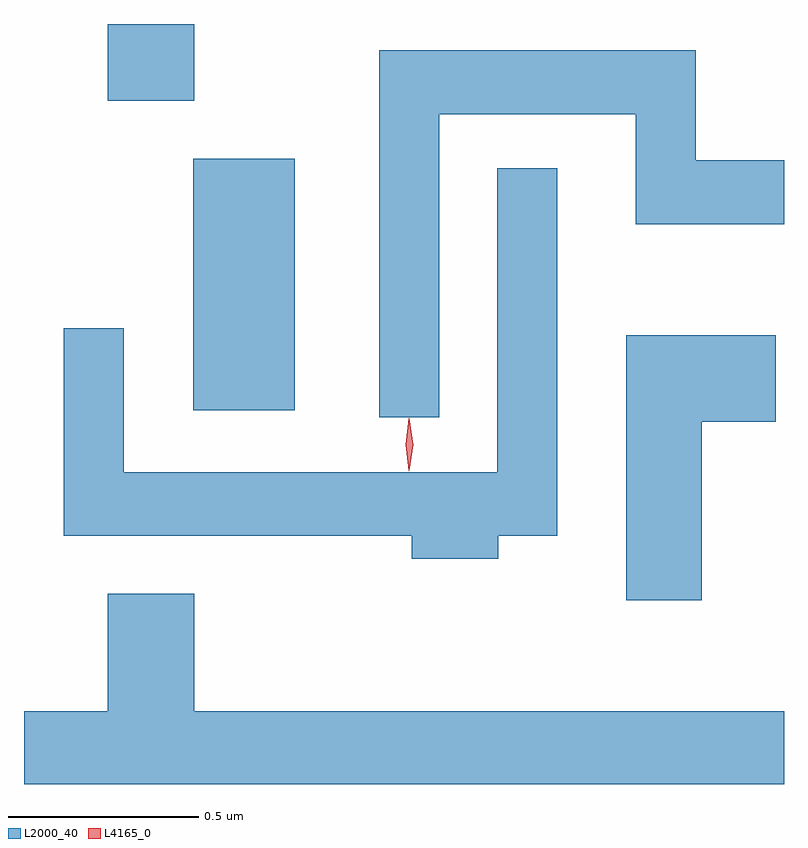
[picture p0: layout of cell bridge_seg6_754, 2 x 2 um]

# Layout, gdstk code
import gdstk
lib = gdstk.Library(unit=1e-6, precision=1e-09)
def R(c, l, rs):  # rectangles x0, y0, x1, y1
    for r in rs: c.add(gdstk.rectangle(r[:2], r[2:], *l))
def P(c, l, *ps):  # polygons
    for p in ps: c.add(gdstk.Polygon(p, *l))
L2000_40 = (2000, 40)
L4165_0 = (4165, 0)

bridge_seg6_754 = lib.new_cell('bridge_seg6_754')
R(bridge_seg6_754, L2000_40, [(484.996,1535.556,485.264,1536.219), (484.771,1536.371,484.999,1536.573)])
P(bridge_seg6_754, L2000_40, [(485.644,1536.336),(486.161,1536.336),(486.161,1536.046),(486.551,1536.046),(486.551,1536.214),(486.319,1536.214),(486.319,1536.504),(485.486,1536.504),(485.486,1535.538),(485.644,1535.538)],
  [(485.799,1535.226),(485.954,1535.226),(485.954,1536.193),(485.796,1536.193),(485.796,1535.394),(484.814,1535.394),(484.814,1535.773),(484.656,1535.773),(484.656,1535.226),(485.571,1535.226),(485.571,1535.166),(485.799,1535.166)],
  [(486.334,1535.526),(486.529,1535.526),(486.529,1535.754),(486.136,1535.754),(486.136,1535.056),(486.334,1535.056)],
  [(486.551,1534.764),(484.999,1534.764),(484.999,1535.074),(484.771,1535.074),(484.771,1534.764),(484.551,1534.764),(484.551,1534.573),(486.551,1534.573)])
P(bridge_seg6_754, L4165_0, [(485.564,1535.397),(485.555,1535.466),(485.564,1535.536),(485.565,1535.536),(485.565,1535.536),(485.575,1535.466),(485.565,1535.397),(485.565,1535.397)],
  [(485.565,1535.399),(485.564,1535.4),(485.555,1535.466),(485.564,1535.532),(485.565,1535.533),(485.565,1535.532),(485.575,1535.466),(485.565,1535.4)])

lib.write_gds('bridge_seg6_754.gds')
